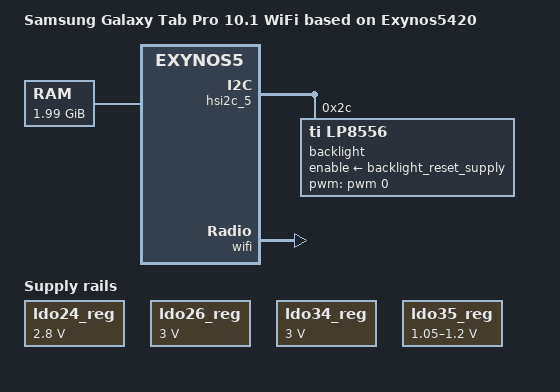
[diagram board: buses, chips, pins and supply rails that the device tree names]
// SPDX-License-Identifier: GPL-2.0
/*
 * Samsung's Exynos5420 Galaxy Tab Pro 10.1 WiFi board device tree source
 *
 * Copyright (c) 2012-2013 Samsung Electronics Co., Ltd.
 *		http://www.samsung.com
 * Copyright (c) 2022 Henrik Grimler
 * Copyright (c) 2024-2025 Hendrik Noack
 */

/dts-v1/;
#include "exynos5420-galaxy-tab-pro-common.dtsi"

/ {
	model = "Samsung Galaxy Tab Pro 10.1 WiFi based on Exynos5420";
	compatible = "samsung,n2awifi", "samsung,exynos5420", \
			"samsung,exynos5";

	memory@20000000 {
		device_type = "memory";
		reg = <0x20000000 0x7fa00000>;
	};
};

&hsi2c_5 {
	status = "okay";

	#address-cells = <1>;
	#size-cells = <0>;

	backlight: backlight@2c {
		compatible = "ti,lp8556";
		reg = <0x2c>;

		bl-name = "lcd-bl";
		dev-ctrl = /bits/ 8 <0x01>;
		init-brt = /bits/ 8 <0x72>;	/* 114 */

		pwms = <&pwm 0 100000 0>;
		pwm-names = "lp8556";
		pinctrl-names = "default";
		pinctrl-0 = <&pwm0_out>;

		enable-supply = <&backlight_reset_supply>;

		/* higher inductor current limit */
		rom-98h {
			rom-addr = /bits/ 8 <0x98>;
			rom-val = /bits/ 8 <0xa1>;
		};

		/* automatic standby via pwm disabled, 25 mA max LED current */
		rom-a1h {
			rom-addr = /bits/ 8 <0xa1>;
			rom-val = /bits/ 8 <0x5f>;
		};

		/* 200 ms slope, heavy smoothing, 1-bit PWM input hysteresis */
		rom-a3h {
			rom-addr = /bits/ 8 <0xa3>;
			rom-val = /bits/ 8 <0x5e>;
		};

		/* disable PWM passthrough, 6 PWM output phases, 9616 Hz PWM frequency */
		rom-a5h {
			rom-addr = /bits/ 8 <0xa5>;
			rom-val = /bits/ 8 <0x04>;
		};

		/* all reserved */
		rom-a8h {
			rom-addr = /bits/ 8 <0xa8>;
			rom-val = /bits/ 8 <0x00>;
		};

		/* 24 V max output voltage, jump detection on pwm input disabled */
		rom-a9h {
			rom-addr = /bits/ 8 <0xa9>;
			rom-val = /bits/ 8 <0xa0>;
		};
	};
};

&ldo24_reg {
	regulator-name = "cam_af_2v8_pm";
	regulator-min-microvolt = <2800000>;
	regulator-max-microvolt = <2800000>;
};

&ldo26_reg {
	regulator-name = "vcc_3v0_motor";
	regulator-min-microvolt = <3000000>;
	regulator-max-microvolt = <3000000>;
};

&ldo34_reg {
	/* Not defined, something with 3V */
	regulator-name = "vdd_ldo34";
	regulator-min-microvolt = <3000000>;
	regulator-max-microvolt = <3000000>;
};

&ldo35_reg {
	regulator-name = "cam_sensor_core_1v2";
	regulator-min-microvolt = <1050000>;
	regulator-max-microvolt = <1200000>;
};

&wifi {
	compatible = "brcm,bcm4339-fmac", "brcm,bcm4329-fmac";
};
